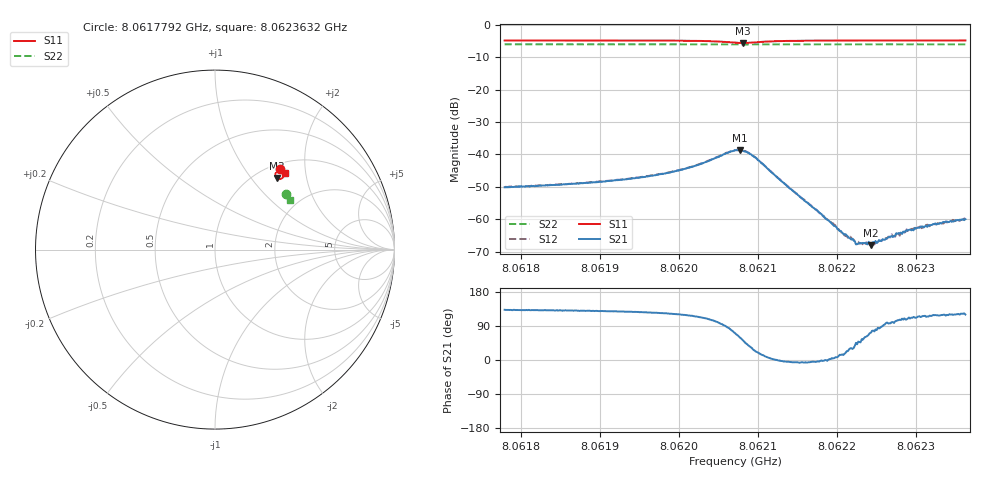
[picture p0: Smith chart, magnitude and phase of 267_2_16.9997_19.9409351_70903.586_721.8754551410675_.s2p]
#  HZ  S  RI  R  50.00
! Rohde & Schwarz Vector Network Analyzer
! Rohde-Schwarz,ZNB20-2Port,1311601062101988,3.16
! Created: UTC 3/20/2024, 11:04:02 PM
! freq[Hz]  re:S11  im:S11  re:S21  im:S21  re:S12  im:S12  re:S22  im:S22
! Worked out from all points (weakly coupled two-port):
!   401 points, 8.0617792 GHz to 8.0623632 GHz, reference 50 ohm
!   highest |S21| = -38.64 dB at 8.0620771 GHz (marker M1); lowest = -68.0 dB at 8.0622435 GHz (marker M2)
!   lowest |S11| = -5.6 dB at 8.0620814 GHz (marker M3), VSWR 3.22, Z = 61.2 + j67.6 ohm
!   |S11| at or under -10 dB: nowhere
!   |S22| runs from -6.0 to -6.0 dB; largest |S21 - S12| = 0.00089
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8.06177922e9  0.3627 0.4473  -0.0021 0.0023  -0.00198 0.00244  0.3976 0.3073
8.06187704e9  0.3697 0.4411  -0.00232 0.00276  -0.00214 0.00291  0.4012 0.3024
8.06193398e9  0.3743 0.4363  -0.00252 0.00328  -0.00232 0.00346  0.4033 0.2995
8.06197485e9  0.378 0.4312  -0.00276 0.00407  -0.00255 0.00428  0.4048 0.2972
8.06201865e9  0.3822 0.421  -0.00285 0.00588  -0.00256 0.00609  0.4061 0.2945
8.06207121e9  0.359 0.3927  0.00376 0.011  0.00444 0.0108  0.4065 0.2912
8.06207705e9  0.3496 0.3946  0.00582 0.0101  0.00641 0.00982  0.4062 0.2912
8.06208143e9  0.3432 0.3988  0.00703 0.00887  0.00774 0.00857  0.4062 0.2913
8.06208873e9  0.3368 0.4091  0.00836 0.00642  0.00878 0.0059  0.4063 0.2914
8.06209895e9  0.3371 0.4236  0.00804 0.00311  0.00812 0.00264  0.4068 0.2918
8.06213837e9  0.3582 0.4394  0.00316 -0.00025  0.00318 -0.000453  0.4093 0.2901
8.06216903e9  0.3673 0.4385  0.00154 -0.000123  0.00154 -0.000211  0.4106 0.2886
8.06219531e9  0.3719 0.4367  0.00082 5.68e-05  0.00087 -6.41e-06  0.4118 0.2872
8.06221283e9  0.3744 0.4355  0.000514 0.00022  0.000521 0.000163  0.4124 0.2862
8.06222451e9  0.3758 0.4348  0.000288 0.00029  0.000383 0.000267  0.4128 0.2858
8.06223327e9  0.3768 0.4341  0.000255 0.000347  0.000263 0.000314  0.4132 0.2851
8.06224349e9  0.3778 0.4336  0.000122 0.00038  0.000127 0.000362  0.4134 0.2846
8.06226684e9  0.3801 0.4321  -6.17e-05 0.000535  -4.57e-05 0.000526  0.4142 0.2835
8.0622902e9  0.3822 0.4306  -0.000226 0.000638  -0.000175 0.000635  0.415 0.2822
8.06231356e9  0.384 0.4293  -0.000321 0.000718  -0.000282 0.000759  0.4158 0.281
8.06233692e9  0.3856 0.4279  -0.000442 0.000785  -0.000411 0.000788  0.4166 0.2798
8.0623632e9  0.3874 0.4264  -0.000502 0.000868  -0.000516 0.000883  0.4175 0.2784
